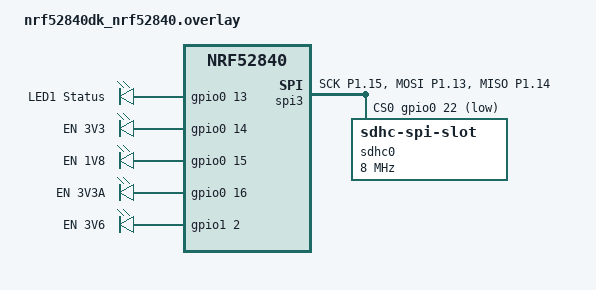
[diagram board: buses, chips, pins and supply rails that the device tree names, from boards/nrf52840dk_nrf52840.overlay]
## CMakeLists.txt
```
# SPDX-License-Identifier: Apache-2.0

cmake_minimum_required(VERSION 3.20.0)
find_package(Zephyr REQUIRED HINTS $ENV{ZEPHYR_BASE})
project(fs_sample)

target_sources(app PRIVATE
  src/main.c
  src/power_ctrl.c
)
```

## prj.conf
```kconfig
CONFIG_DISK_ACCESS=y
CONFIG_LOG=y
CONFIG_FILE_SYSTEM=y
CONFIG_FAT_FILESYSTEM_ELM=y
CONFIG_PRINTK=y
CONFIG_MAIN_STACK_SIZE=2048


# CONFIG_LOG_DEFAULT_LEVEL=4
# CONFIG_SPI_LOG_LEVEL_DBG=y
# CONFIG_DISK_LOG_LEVEL_DBG=y
# CONFIG_SDHC_LOG_LEVEL_DBG=y
```

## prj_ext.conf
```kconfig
# Copyright (c) 2023 Antmicro <www.antmicro.com>
# SPDX-License-Identifier: Apache-2.0

CONFIG_LOG=y
CONFIG_LOG_MODE_IMMEDIATE=y

CONFIG_MAIN_STACK_SIZE=2048

CONFIG_FILE_SYSTEM=y
CONFIG_FILE_SYSTEM_EXT2=y

# Enable to allow formatting
# CONFIG_FILE_SYSTEM_MKFS=y
# CONFIG_TEST_RANDOM_GENERATOR=y

CONFIG_DISK_ACCESS=y
CONFIG_DISK_DRIVER_SDMMC=y

# First block of first partition after GPT
CONFIG_EXT2_DISK_STARTING_SECTOR=2082
# CONFIG_LOG_DEFAULT_LEVEL=4
CONFIG_SPI_LOG_LEVEL_DBG=y
CONFIG_DISK_LOG_LEVEL_DBG=y
CONFIG_SDHC_LOG_LEVEL_DBG=y
```

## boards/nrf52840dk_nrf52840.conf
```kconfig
#
# Copyright (c) 2025
#
# SPDX-License-Identifier: Apache-2.0
#

# Enable SPI driver
CONFIG_SPI=y

# Enable SD card over SPI support
CONFIG_DISK_DRIVER_SDMMC=y
```

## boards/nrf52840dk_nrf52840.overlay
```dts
/*
 * Copyright (c) 2025
 *
 * SPDX-License-Identifier: Apache-2.0
 */

/* Overlay for nRF52840 DK with Adafruit SD card breakout board on SPI3
 * 
 * Pin connections:
 * - CS:  P1.12 (GPIO)
 * - DI:  P1.13 (MOSI)
 * - DO:  P1.14 (MISO)
 * - CLK: P1.15 (SCK)
 * - GND: GND
 * - 3V:  VDD (3.3V)
 */

/ {
	leds {
		compatible = "gpio-leds";

		led1: led_1 {
			gpios = <&gpio0 13 GPIO_ACTIVE_HIGH>;
			label = "LED1 Status";
		};
	};

	enables {
		compatible = "gpio-leds";

		en3v3: en3v3 {
			gpios = <&gpio0 14 GPIO_ACTIVE_HIGH>;
			label = "EN 3V3";
		};

		en1v8: en1v8 {
			gpios = <&gpio0 15 GPIO_ACTIVE_HIGH>;
			label = "EN 1V8";
		};

		en3v3a: en3v3a {
			gpios = <&gpio0 16 GPIO_ACTIVE_HIGH>;
			label = "EN 3V3A";
		};

		en3v6: en3v6 {
			gpios = <&gpio1 2 GPIO_ACTIVE_HIGH>;
			label = "EN 3V6";
		};
	};
};

&pinctrl {
	spi3_default: spi3_default {
		group1 {
			psels = <NRF_PSEL(SPIM_SCK, 1, 15)>,
				<NRF_PSEL(SPIM_MOSI, 1, 13)>,
				<NRF_PSEL(SPIM_MISO, 1, 14)>;
		};
	};

	spi3_sleep: spi3_sleep {
		group1 {
			psels = <NRF_PSEL(SPIM_SCK, 1, 15)>,
				<NRF_PSEL(SPIM_MOSI, 1, 13)>,
				<NRF_PSEL(SPIM_MISO, 1, 14)>;
			low-power-enable;
		};
	};
};

&spi3 {
	compatible = "nordic,nrf-spim";
	status = "okay";
	pinctrl-0 = <&spi3_default>;
	pinctrl-1 = <&spi3_sleep>;
	pinctrl-names = "default", "sleep";
	cs-gpios = <&gpio0 22 GPIO_ACTIVE_LOW>;

	sdhc0: sdhc@0 {
		compatible = "zephyr,sdhc-spi-slot";
		reg = <0>;
		status = "okay";
		mmc {
			compatible = "zephyr,sdmmc-disk";
			disk-name = "SD";
			status = "okay";
		};
		spi-max-frequency = <8000000>;
	};
};

&qspi {
	status = "disabled";
};
```

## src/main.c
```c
/*
 * SD Card Hello World Example for nRF52840DK
 * With optional erase/format on boot
 */

#include "power_ctrl.h"

#include <ff.h>
#include <string.h>
#include <zephyr/device.h>
#include <zephyr/fs/fs.h>
#include <zephyr/kernel.h>
#include <zephyr/storage/disk_access.h>
#include <zephyr/sys/printk.h>

#define DISK_DRIVE_NAME "SD"
#define DISK_MOUNT_PT "/SD:"

/* ====================== CONFIG FLAG ======================= */
#define ERASE_SD_ON_BOOT 0 /* Set to 1 to erase card on boot, 0 to disable */
/* =========================================================== */

static FATFS fat_fs;
static struct fs_mount_t mp = {
    .type = FS_FATFS,
    .fs_data = &fat_fs,
    .mnt_point = DISK_MOUNT_PT,
};

/* ========== Step 0: Format (Erase) SD Card ========== */
static int format_sd_card(void) {
  printk("\n=== STEP 0: Formatting (Erasing) SD Card ===\n");

  MKFS_PARM opt = {
      .fmt = FM_FAT32, // Format as FAT32
      .n_fat = 1,
      .align = 0,
      .n_root = 0,
      .au_size = 0 // automatic allocation unit
  };

  FRESULT res = f_mkfs(DISK_MOUNT_PT, &opt, NULL, 0);

  if (res != FR_OK) {
    printk("ERROR: Failed to format SD card (FR=%d)\n", res);
    return -1;
  }

  printk("SUCCESS: SD card formatted\n");
  return 0;
}

/* ========== Step 4: List Directory ========== */
static void list_directory(const char *path) {
  struct fs_dir_t dirp;
  struct fs_dirent entry;
  int count = 0;

  fs_dir_t_init(&dirp);

  printk("\n=== STEP 4: Listing SD Card Contents ===\n");

  if (fs_opendir(&dirp, path) != 0) {
    printk("ERROR: Failed to open directory\n");
    return;
  }

  printk("Contents of %s:\n", path);

  while (1) {
    if (fs_readdir(&dirp, &entry) != 0 || entry.name[0] == 0) {
      break;
    }

    if (entry.type == FS_DIR_ENTRY_DIR) {
      printk("  [DIR ] %s\n", entry.name);
    } else {
      printk("  [FILE] %s (%u bytes)\n", entry.name, (unsigned int)entry.size);
    }
    count++;
  }

  fs_closedir(&dirp);
  printk("Total entries: %d\n", count);
}

/* ========== Step 1: Mount SD Card ========== */
static int mount_sd_card(void) {
  int res;

  printk("\n=== STEP 1: Mounting SD Card ===\n");
  printk("Note: SD card must be formatted with FAT filesystem\n");

  res = fs_mount(&mp);
  if (res != 0) {
    printk("ERROR: Failed to mount filesystem (error %d)\n", res);
    return res;
  }

  printk("SUCCESS: SD card mounted\n");
  return 0;
}

/* ========== Step 2: Create File ========== */
static int create_test_file(void) {
  struct fs_file_t file;
  const char *filename = DISK_MOUNT_PT "/hello.txt";
  const char *content =
      "Hello World from nRF52840DK!\n"
      "SD card write test successful.\n"
      "This file was created by the hello world example 2222.\n";

  printk("\n=== STEP 2: Creating File with Content ===\n");

  fs_file_t_init(&file);

  if (fs_open(&file, filename, FS_O_CREATE | FS_O_WRITE) != 0) {
    printk("ERROR: Failed to create file\n");
    return -1;
  }

  ssize_t bytes_written = fs_write(&file, content, strlen(content));
  fs_close(&file);

  if (bytes_written < 0) {
    printk("ERROR: Failed to write to file\n");
    return -1;
  }

  printk("SUCCESS: Created 'hello.txt' with %u bytes\n",
         (unsigned int)bytes_written);
  return 0;
}

/* ========== Step 3: Create Directory ========== */
static int create_test_directory(void) {
  const char *dirname = DISK_MOUNT_PT "/mydata";

  printk("\n=== STEP 3: Creating Directory ===\n");

  int res = fs_mkdir(dirname);
  if (res != 0) {
    printk("ERROR: Failed to create directory (err %d)\n", res);
    return -1;
  }

  printk("SUCCESS: Created directory 'mydata'\n");
  return 0;
}

/* ========== Main Program ========== */
int main(void) {
  int ret;
  uint32_t block_count = 0, block_size = 0;
  uint64_t memory_size_mb;

  printk("\n--- Initializing SD Card ---\n");

  ret = power_ctrl_init();
  if (ret != 0) {
    printk("ERROR: Power control init failed (%d)\n", ret);
    goto error;
  }

  ret = power_ctrl_set(POWER_EN_3V3, true);
  if (ret != 0) {
    printk("ERROR: Failed to enable 3V3 rail (%d)\n", ret);
    goto error;
  }
  ret = power_ctrl_set(POWER_EN_1V8, true);
  if (ret != 0) {
    printk("ERROR: Failed to enable 1V8 rail (%d)\n", ret);
    goto error;
  }
  ret = power_ctrl_set(POWER_EN_3V3A, true);
  if (ret != 0) {
    printk("ERROR: Failed to enable 3V3A rail (%d)\n", ret);
    goto error;
  }
  ret = power_ctrl_set(POWER_EN_3V6, true);
  if (ret != 0) {
    printk("ERROR: Failed to enable 3V6 rail (%d)\n", ret);
    goto error;
  }

  if (disk_access_ioctl(DISK_DRIVE_NAME, DISK_IOCTL_CTRL_INIT, NULL) != 0) {
    printk("ERROR: SD card init failed!\n");
    goto error;
  }

  if (disk_access_ioctl(DISK_DRIVE_NAME, DISK_IOCTL_GET_SECTOR_COUNT,
                        &block_count) != 0) {
    printk("ERROR: Failed to get sector count\n");
    goto error;
  }

  if (disk_access_ioctl(DISK_DRIVE_NAME, DISK_IOCTL_GET_SECTOR_SIZE,
                        &block_size) != 0) {
    printk("ERROR: Failed to get sector size\n");
    goto error;
  }

  memory_size_mb = ((uint64_t)block_count * block_size) >> 20;

  printk("SD Card Info:\n");
  printk("  Block count: %u\n", block_count);
  printk("  Sector size: %u bytes\n", block_size);
  printk("  Total size: %u MB\n", (uint32_t)memory_size_mb);

  /* OPTIONAL ERASE / FORMAT PHASE */
#if ERASE_SD_ON_BOOT
  if (format_sd_card() != 0) {
    printk("SD card format failed\n");
    goto error;
  }
#else
  printk("\nErase on boot disabled (ERASE_SD_ON_BOOT = 0)\n");
#endif

  if (mount_sd_card() != 0)
    goto error;
  if (create_test_file() != 0)
    goto cleanup;
  if (create_test_directory() != 0)
    goto cleanup;

  list_directory(DISK_MOUNT_PT);

  printk("\n=====================================\n");
  printk("  All operations completed!\n");
  printk("=====================================\n");

cleanup:
  fs_unmount(&mp);
  disk_access_ioctl(DISK_DRIVE_NAME, DISK_IOCTL_CTRL_DEINIT, NULL);

error:
  printk("\nProgram finished. System will now idle.\n");

  while (1) {
    k_sleep(K_MSEC(1000));
  }

  return 0;
}
```

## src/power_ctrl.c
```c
#include "power_ctrl.h"

#include <zephyr/device.h>
#include <zephyr/devicetree.h>
#include <zephyr/drivers/gpio.h>
#include <zephyr/kernel.h>
#include <zephyr/logging/log.h>
#include <zephyr/sys/util.h>

LOG_MODULE_REGISTER(power_ctrl, LOG_LEVEL_INF);

#define EN3V3_NODE DT_NODELABEL(en3v3)
#define EN1V8_NODE DT_NODELABEL(en1v8)
#define EN3V3A_NODE DT_NODELABEL(en3v3a)
#define EN3V6_NODE DT_NODELABEL(en3v6)

static const struct gpio_dt_spec power_gpios[POWER_DOMAIN_COUNT] = {
    GPIO_DT_SPEC_GET_OR(EN3V3_NODE, gpios, {0}),
    GPIO_DT_SPEC_GET_OR(EN1V8_NODE, gpios, {0}),
    GPIO_DT_SPEC_GET_OR(EN3V3A_NODE, gpios, {0}),
    GPIO_DT_SPEC_GET_OR(EN3V6_NODE, gpios, {0}),
};

int power_ctrl_init(void) {
  int ret;

  for (int i = 0; i < POWER_DOMAIN_COUNT; i++) {
    if (!gpio_is_ready_dt(&power_gpios[i])) {
      LOG_ERR("Power GPIO %d device %s not ready", i,
              power_gpios[i].port->name);
      return -ENODEV;
    }

    ret = gpio_pin_configure_dt(&power_gpios[i], GPIO_OUTPUT_INACTIVE);
    if (ret != 0) {
      LOG_ERR("Failed to configure power GPIO %d", i);
      return ret;
    }

    LOG_INF("Initialized power GPIO %d on %s pin %d", i,
            power_gpios[i].port->name, power_gpios[i].pin);
  }

  return 0;
}

int power_ctrl_set(enum power_domain domain, bool enable) {
  if (domain < 0 || domain >= POWER_DOMAIN_COUNT) {
    return -EINVAL;
  }

  return gpio_pin_set_dt(&power_gpios[domain], enable);
}

int power_ctrl_toggle(enum power_domain domain) {
  if (domain < 0 || domain >= POWER_DOMAIN_COUNT) {
    return -EINVAL;
  }

  return gpio_pin_toggle_dt(&power_gpios[domain]);
}
```

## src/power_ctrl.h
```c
#ifndef POWER_CTRL_H
#define POWER_CTRL_H

#include <stdbool.h>

enum power_domain {
  POWER_EN_3V3 = 0,
  POWER_EN_1V8,
  POWER_EN_3V3A,
  POWER_EN_3V6,
  POWER_DOMAIN_COUNT,
};

int power_ctrl_init(void);
int power_ctrl_set(enum power_domain domain, bool enable);
int power_ctrl_toggle(enum power_domain domain);

#endif /* POWER_CTRL_H */
```
